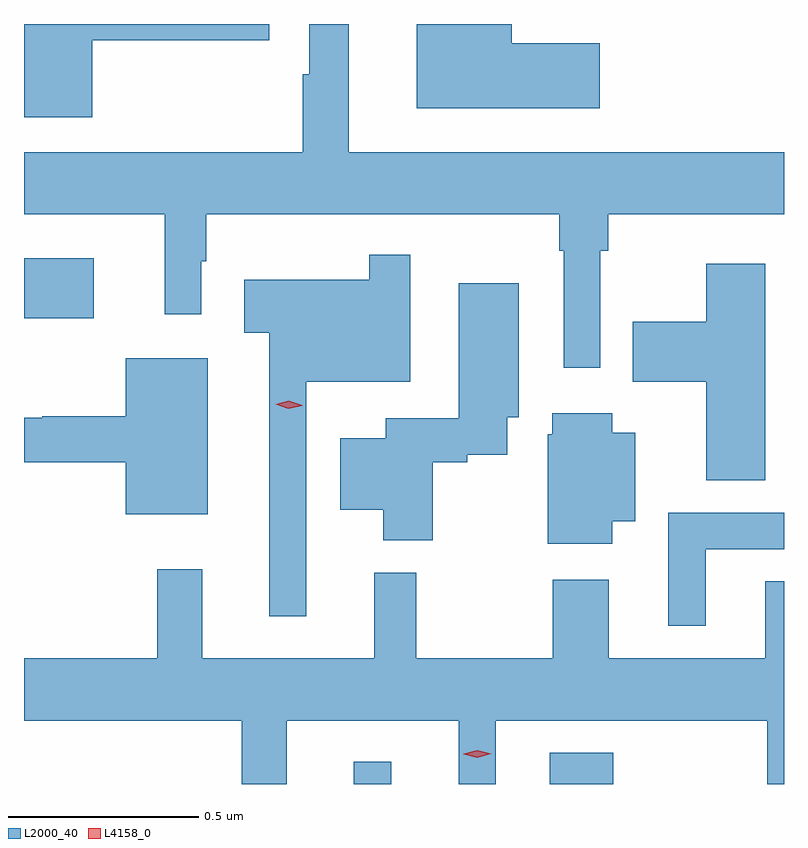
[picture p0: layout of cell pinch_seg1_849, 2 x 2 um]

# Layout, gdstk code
import gdstk
lib = gdstk.Library(unit=1e-6, precision=1e-09)
def R(c, l, rs):  # rectangles x0, y0, x1, y1
    for r in rs: c.add(gdstk.rectangle(r[:2], r[2:], *l))
def P(c, l, *ps):  # polygons
    for p in ps: c.add(gdstk.Polygon(p, *l))
L2000_40 = (2000, 40)
L4158_0 = (4158, 0)

pinch_seg1_849 = lib.new_cell('pinch_seg1_849')
R(pinch_seg1_849, L2000_40, [(498.956,547.569,499.055,547.627), (499.472,547.569,499.639,547.651), (498.088,548.795,498.271,548.953)])
P(pinch_seg1_849, L2000_40, [(499.603,549.518),(499.372,549.518),(499.372,549.569),(499.121,549.569),(499.121,549.347),(499.603,549.347)],
  [(498.268,549.526),(498.733,549.526),(498.733,549.569),(498.088,549.569),(498.088,549.323),(498.268,549.323)],
  [(499.605,548.972),(499.625,548.972),(499.625,549.068),(500.088,549.068),(500.088,549.232),(498.943,549.232),(498.943,549.569),(498.839,549.569),(498.839,549.437),(498.822,549.437),(498.822,549.232),(498.088,549.232),(498.088,549.068),(498.458,549.068),(498.458,548.805),(498.555,548.805),(498.555,548.945),(498.568,548.945),(498.568,549.068),(499.497,549.068),(499.497,548.972),(499.509,548.972),(499.509,548.664),(499.605,548.664)],
  [(498.831,548.627),(499.104,548.627),(499.104,548.962),(498.996,548.962),(498.996,548.896),(498.668,548.896),(498.668,548.756),(498.734,548.756),(498.734,548.01),(498.831,548.01)],
  [(500.038,548.938),(499.883,548.938),(499.883,548.785),(499.69,548.785),(499.69,548.627),(499.883,548.627),(499.883,548.368),(500.038,548.368)],
  [(499.164,548.416),(499.254,548.416),(499.254,548.436),(499.36,548.436),(499.36,548.534),(499.39,548.534),(499.39,548.887),(499.232,548.887),(499.232,548.532),(499.04,548.532),(499.04,548.479),(498.92,548.479),(498.92,548.291),(499.034,548.291),(499.034,548.21),(499.164,548.21)],
  [(498.571,548.689),(498.356,548.689),(498.356,548.537),(498.136,548.537),(498.136,548.533),(498.088,548.533),(498.088,548.416),(498.356,548.416),(498.356,548.279),(498.571,548.279)],
  [(499.636,548.261),(499.696,548.261),(499.696,548.494),(499.636,548.494),(499.636,548.545),(499.478,548.545),(499.478,548.49),(499.466,548.49),(499.466,548.201),(499.636,548.201)],
  [(499.882,548.187),(500.088,548.187),(500.088,548.283),(499.784,548.283),(499.784,547.986),(499.882,547.986)],
  [(498.779,547.736),(499.232,547.736),(499.232,547.569),(499.33,547.569),(499.33,547.736),(500.044,547.736),(500.044,547.569),(500.088,547.569),(500.088,548.102),(500.039,548.102),(500.039,547.9),(499.627,547.9),(499.627,548.107),(499.48,548.107),(499.48,547.9),(499.12,547.9),(499.12,548.125),(499.01,548.125),(499.01,547.9),(498.557,547.9),(498.557,548.134),(498.439,548.134),(498.439,547.9),(498.088,547.9),(498.088,547.736),(498.661,547.736),(498.661,547.569),(498.779,547.569)])
P(pinch_seg1_849, L4158_0, [(499.281,547.638),(499.245,547.647),(499.245,547.647),(499.245,547.648),(499.281,547.658),(499.317,547.649),(499.317,547.649),(499.317,547.649)],
  [(498.784,548.557),(498.75,548.568),(498.749,548.569),(498.75,548.569),(498.785,548.577),(498.82,548.566),(498.82,548.565),(498.82,548.565)])

lib.write_gds('pinch_seg1_849.gds')
